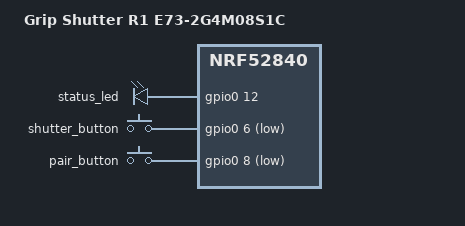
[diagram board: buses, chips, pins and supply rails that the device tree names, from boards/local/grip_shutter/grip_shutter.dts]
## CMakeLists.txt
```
cmake_minimum_required(VERSION 3.20.0)
list(APPEND BOARD_ROOT ${CMAKE_CURRENT_SOURCE_DIR})
find_package(Zephyr REQUIRED HINTS $ENV{ZEPHYR_BASE})
project(magnetic_shutter_remote)
target_sources(app PRIVATE src/main.c src/hid.c)
```

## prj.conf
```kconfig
CONFIG_GPIO=y
CONFIG_BT=y
CONFIG_BT_PERIPHERAL=y
CONFIG_BT_SMP=y
CONFIG_BT_BONDABLE=y
CONFIG_BT_MAX_CONN=1
CONFIG_BT_MAX_PAIRED=1
CONFIG_BT_DEVICE_NAME="Grip Shutter R1"
CONFIG_BT_DEVICE_APPEARANCE=384
CONFIG_BT_SETTINGS=y
CONFIG_SETTINGS=y
CONFIG_FLASH=y
CONFIG_FLASH_MAP=y
CONFIG_NVS=y
CONFIG_BT_FILTER_ACCEPT_LIST=y
CONFIG_BT_PERIPHERAL_PREF_MIN_INT=24
CONFIG_BT_PERIPHERAL_PREF_MAX_INT=40
CONFIG_BT_PERIPHERAL_PREF_LATENCY=4
CONFIG_BT_PERIPHERAL_PREF_TIMEOUT=600
CONFIG_CLOCK_CONTROL_NRF_K32SRC_RC=y
CONFIG_CLOCK_CONTROL_NRF_K32SRC_RC_CALIBRATION=y
CONFIG_CLOCK_CONTROL_NRF_K32SRC_500PPM=y
CONFIG_TICKLESS_KERNEL=y
CONFIG_SYSTEM_WORKQUEUE_STACK_SIZE=2048
CONFIG_MAIN_STACK_SIZE=2048
CONFIG_LOG=n
CONFIG_CONSOLE=n
CONFIG_SERIAL=n
```

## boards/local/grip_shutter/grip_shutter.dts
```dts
/dts-v1/;
#include <nordic/nrf52840_qiaa.dtsi>
#include <zephyr/dt-bindings/gpio/gpio.h>

/ {
	model = "Grip Shutter R1 E73-2G4M08S1C";
	compatible = "local,grip-shutter";
	chosen {
		zephyr,sram = &sram0;
		zephyr,flash = &flash0;
		zephyr,code-partition = &application;
	};
	leds {
		compatible = "gpio-leds";
		status_led: status_led { gpios = <&gpio0 12 GPIO_ACTIVE_HIGH>; };
	};
	buttons {
		compatible = "gpio-keys";
		shutter_button: shutter_button { gpios = <&gpio0 6 (GPIO_PULL_UP | GPIO_ACTIVE_LOW)>; };
		pair_button: pair_button { gpios = <&gpio0 8 (GPIO_PULL_UP | GPIO_ACTIVE_LOW)>; };
	};
	aliases { led0 = &status_led; sw0 = &shutter_button; sw1 = &pair_button; };
};

&gpio0 { status = "okay"; };
&gpiote { status = "okay"; };
&uicr { gpio-as-nreset; };
/* Normal voltage mode. Use the internal LDO; no dependence on external DCCH. */
&reg1 { regulator-initial-mode = <NRF5X_REG_MODE_LDO>; };
&flash0 {
	partitions {
		compatible = "fixed-partitions";
		#address-cells = <1>;
		#size-cells = <1>;
		application: partition@0 { label = "application"; reg = <0x0 0xf8000>; };
		storage_partition: partition@f8000 { label = "storage"; reg = <0xf8000 0x8000>; };
	};
};
```

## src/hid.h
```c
#ifndef GRIP_SHUTTER_HID_H
#define GRIP_SHUTTER_HID_H
#include <stdbool.h>
bool shutter_hid_ready(void);
int shutter_hid_send(bool pressed);
void shutter_hid_disconnected(void);
#endif
```

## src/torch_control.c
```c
#include "torch_control.h"

void torch_reset(struct torch_state *state)
{
    *state = (struct torch_state){
        .enabled = false,
        .fault_latched = false,
        .brightness_index = 0,
        .colour = TORCH_NEUTRAL,
    };
}

void torch_event(struct torch_state *state, enum torch_event event)
{
    if (event == TORCH_FAULT) {
        state->enabled = false;
        state->fault_latched = true;
        return;
    }
    if (event == TORCH_CLEAR_FAULT) {
        state->fault_latched = false;
        state->enabled = false; /* Clearing a fault never turns light back on. */
        return;
    }
    if (state->fault_latched) {
        return;
    }
    switch (event) {
    case TORCH_TOGGLE:
        state->enabled = !state->enabled;
        break;
    case TORCH_NEXT_BRIGHTNESS:
        state->brightness_index = (state->brightness_index + 1) % 3;
        break;
    case TORCH_NEXT_COLOUR:
        state->colour = (enum torch_colour)((state->colour + 1) % 3);
        break;
    case TORCH_FAULT:
    case TORCH_CLEAR_FAULT:
        break;
    }
}

struct torch_output torch_output(const struct torch_state *state,
                                 uint16_t neutral_warm_permille)
{
    const uint16_t brightness[] = {150, 500, 1000};
    struct torch_output output = {0};
    if (!state->enabled || state->fault_latched || state->brightness_index > 2 ||
        state->colour < TORCH_WARM || state->colour > TORCH_COOL ||
        neutral_warm_permille > 1000) {
        return output;
    }
    uint16_t total = brightness[state->brightness_index];
    output.power_enable = true;
    if (state->colour == TORCH_WARM) {
        output.warm_permille = total;
    } else if (state->colour == TORCH_COOL) {
        output.cool_permille = total;
    } else {
        output.warm_permille = (uint32_t)total * neutral_warm_permille / 1000;
        output.cool_permille = total - output.warm_permille;
    }
    return output;
}
```

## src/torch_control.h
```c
#ifndef TORCH_CONTROL_H
#define TORCH_CONTROL_H

#include <stdbool.h>
#include <stdint.h>

enum torch_colour { TORCH_WARM, TORCH_NEUTRAL, TORCH_COOL };
enum torch_event {
    TORCH_TOGGLE,
    TORCH_NEXT_BRIGHTNESS,
    TORCH_NEXT_COLOUR,
    TORCH_FAULT,
    TORCH_CLEAR_FAULT,
};

struct torch_state {
    bool enabled;
    bool fault_latched;
    uint8_t brightness_index;
    enum torch_colour colour;
};

struct torch_output {
    bool power_enable;
    uint16_t warm_permille;
    uint16_t cool_permille;
};

void torch_reset(struct torch_state *state);
void torch_event(struct torch_state *state, enum torch_event event);
/* Mix is a calibrated optical parameter. This module assigns no claimed CCT.
 * Full-scale current is set by the qualified hardware, not these percentages.
 * The hardware current limiter remains necessary if firmware/GPIOs fail. */
struct torch_output torch_output(const struct torch_state *state,
                                 uint16_t neutral_warm_permille);

#endif
```
